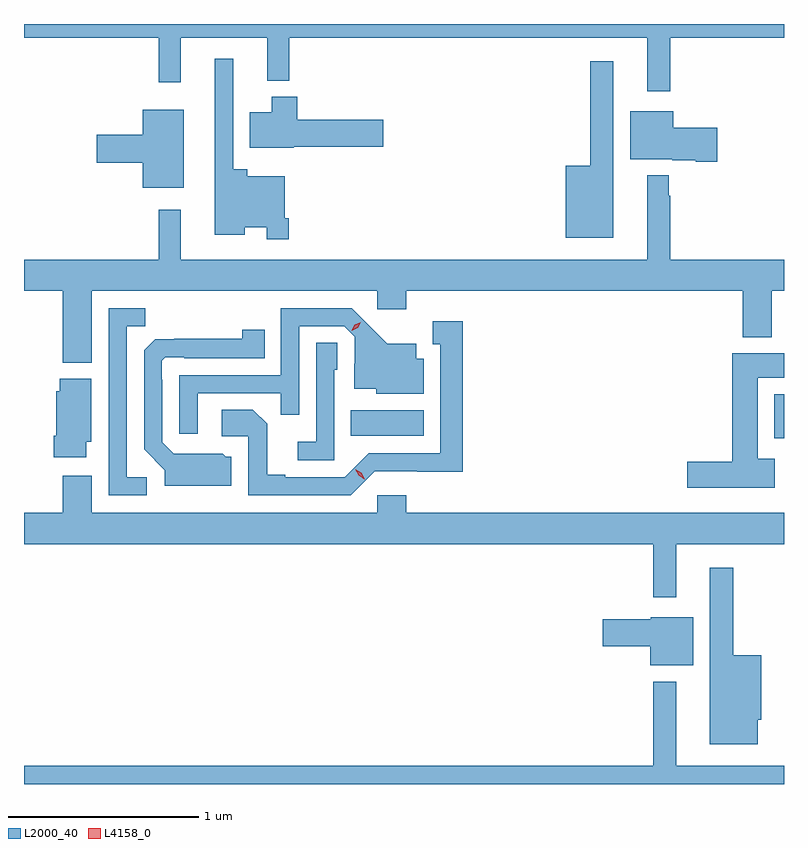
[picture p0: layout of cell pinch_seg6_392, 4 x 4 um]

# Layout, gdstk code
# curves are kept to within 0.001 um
import gdstk
lib = gdstk.Library(unit=1e-6, precision=1e-09)
def R(c, l, rs):  # rectangles x0, y0, x1, y1
    for r in rs: c.add(gdstk.rectangle(r[:2], r[2:], *l))
def P(c, l, *ps):  # polygons
    for p in ps: c.add(gdstk.Polygon(p, *l))
L2000_40 = (2000, 40)
L4158_0 = (4158, 0)

pinch_seg6_392 = lib.new_cell('pinch_seg6_392')
R(pinch_seg6_392, L2000_40, [(673.73,934.574,673.781,934.804), (671.5,934.586,671.884,934.72)])
P(pinch_seg6_392, L2000_40, [(673.183,936.68),(673.781,936.68),(673.781,936.753),(669.781,936.753),(669.781,936.68),(670.489,936.68),(670.489,936.447),(670.607,936.447),(670.607,936.68),(671.06,936.68),(671.06,936.455),(671.177,936.455),(671.177,936.68),(673.061,936.68),(673.061,936.399),(673.183,936.399)],
  [(671.174,935.731),(671.154,935.731),(671.154,935.953),(670.955,935.953),(670.955,935.989),(670.881,935.989),(670.881,936.571),(670.784,936.571),(670.784,935.645),(670.942,935.645),(670.942,935.684),(671.058,935.684),(671.058,935.619),(671.174,935.619)],
  [(672.883,936.556),(672.762,936.556),(672.762,936.007),(672.632,936.007),(672.632,935.627),(672.883,935.627)],
  [(671.202,936.107),(671.671,936.107),(671.671,936.249),(671.219,936.249),(671.219,936.37),(671.084,936.37),(671.084,936.289),(670.97,936.289),(670.97,936.101),(671.202,936.101)],
  [(670.621,936.301),(670.406,936.301),(670.406,936.17),(670.164,936.17),(670.164,936.023),(670.406,936.023),(670.406,935.891),(670.621,935.891)],
  [(673.429,936.207),(673.198,936.207),(673.198,936.295),(672.971,936.295),(672.971,936.041),(673.194,936.041),(673.194,936.035),(673.316,936.035),(673.316,936.029),(673.429,936.029)],
  [(670.138,935.348),(671.64,935.348),(671.64,935.253),(671.792,935.253),(671.792,935.348),(673.565,935.348),(673.565,935.105),(673.717,935.105),(673.717,935.348),(673.781,935.348),(673.781,935.512),(673.183,935.512),(673.183,935.849),(673.175,935.849),(673.175,935.956),(673.061,935.956),(673.061,935.512),(670.606,935.512),(670.606,935.776),(670.489,935.776),(670.489,935.512),(669.781,935.512),(669.781,935.348),(669.986,935.348),(669.986,934.97),(670.138,934.97)],
  [(670.695,934.809),(671.131,934.809),(671.131,934.696),(671.229,934.696),(671.229,935.163),(671.466,935.163),(671.523,935.106),(671.523,934.964),(671.519,934.964),(671.519,934.832),(671.634,934.832),(671.634,934.808),(671.884,934.808),(671.884,934.99),(671.845,934.99),(671.845,935.071),(671.693,935.071),(671.506,935.256),(671.133,935.256),(671.133,934.905),(670.599,934.905),(670.599,934.596),(670.695,934.596)],
  [(670.426,934.368),(670.323,934.368),(670.323,935.161),(670.419,935.161),(670.419,935.256),(670.227,935.256),(670.227,934.272),(670.426,934.272)],
  [(671.628,934.398),(672.091,934.397),(672.091,935.188),(671.933,935.188),(671.933,935.067),(671.972,935.067),(671.972,934.494),(671.595,934.494),(671.469,934.368),(671.155,934.368),(671.155,934.381),(671.061,934.381),(671.061,934.648),(670.985,934.724),(670.821,934.724),(670.821,934.584),(670.962,934.584),(670.962,934.272),(671.502,934.272)],
  [(670.873,934.476),(670.842,934.476),(670.826,934.492),(670.569,934.491),(670.509,934.551),(670.509,934.88),(670.506,934.88),(670.506,934.98),(670.524,934.998),(670.624,934.998),(670.624,934.995),(671.048,934.995),(671.048,935.143),(670.93,935.143),(670.93,935.096),(670.472,935.095),(670.413,935.036),(670.413,934.514),(670.523,934.404),(670.523,934.322),(670.873,934.322)],
  [(671.415,934.932),(671.43,934.932),(671.43,935.075),(671.319,935.075),(671.319,934.555),(671.223,934.555),(671.223,934.458),(671.415,934.458)],
  [(673.732,934.465),(673.642,934.465),(673.642,934.892),(673.781,934.892),(673.781,935.02),(673.508,935.02),(673.508,934.448),(673.272,934.448),(673.272,934.313),(673.732,934.313)],
  [(670.108,934.554),(670.135,934.554),(670.135,934.885),(669.968,934.885),(669.968,934.821),(669.95,934.821),(669.95,934.585),(669.938,934.585),(669.938,934.473),(670.108,934.473)],
  [(673.213,934.016),(673.781,934.016),(673.781,934.18),(671.792,934.18),(671.792,934.273),(671.64,934.273),(671.64,934.18),(670.138,934.18),(670.138,934.375),(669.986,934.375),(669.986,934.18),(669.781,934.18),(669.781,934.016),(673.092,934.016),(673.092,933.735),(673.213,933.735)],
  [(673.642,933.09),(673.66,933.09),(673.66,933.43),(673.513,933.43),(673.513,933.892),(673.391,933.892),(673.391,932.963),(673.642,932.963)],
  [(673.303,933.631),(673.08,933.631),(673.08,933.621),(672.828,933.621),(672.828,933.479),(673.076,933.479),(673.076,933.377),(673.303,933.377)],
  [(669.781,932.753),(673.781,932.753),(673.781,932.848),(673.213,932.848),(673.213,933.292),(673.092,933.292),(673.092,932.848),(669.781,932.848)])
P(pinch_seg6_392, L4158_0, [(671.573,934.358),(671.542,934.377),(671.524,934.41),(671.524,934.41),(671.524,934.41),(671.556,934.391),(671.574,934.358),(671.574,934.358)],
  [(671.506,935.139),(671.506,935.14),(671.523,935.169),(671.554,935.184),(671.554,935.184),(671.554,935.184),(671.537,935.155),(671.507,935.139)])

lib.write_gds('pinch_seg6_392.gds')
